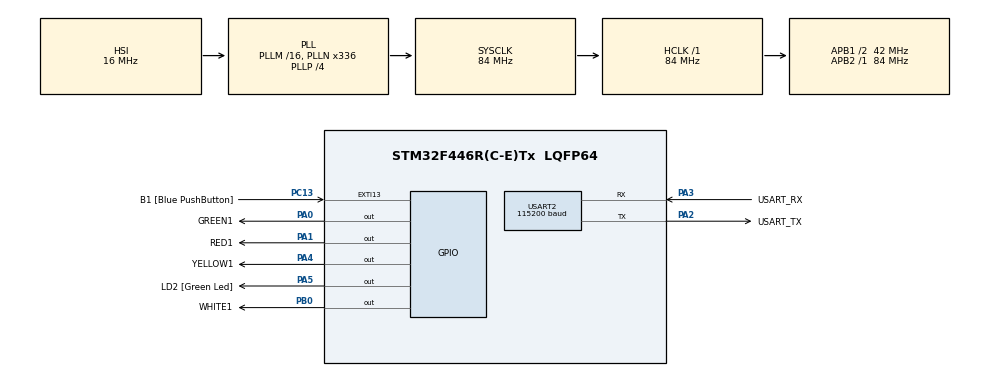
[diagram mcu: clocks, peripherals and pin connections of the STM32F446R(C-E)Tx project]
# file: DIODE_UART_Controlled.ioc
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Mcu.Family=STM32F4
Mcu.Name=STM32F446R(C-E)Tx
Mcu.Package=LQFP64
NVIC.PriorityGroup=NVIC_PRIORITYGROUP_0
NVIC.USART2_IRQn=true\:0\:0\:false\:false\:true\:true\:true
PA0-WKUP.GPIO_Label=GREEN1
PA0-WKUP.GPIO_PuPd=GPIO_PULLDOWN
PA0-WKUP.GPIO_Speed=GPIO_SPEED_FREQ_LOW
PA0-WKUP.Signal=GPIO_Output
PA1.GPIO_Label=RED1
PA1.GPIO_PuPd=GPIO_PULLDOWN
PA1.Signal=GPIO_Output
PA13.GPIO_Label=TMS
PA13.Mode=Serial_Wire
PA13.Signal=SYS_JTMS-SWDIO
PA14.GPIO_Label=TCK
PA14.Mode=Serial_Wire
PA14.Signal=SYS_JTCK-SWCLK
PA2.GPIO_Label=USART_TX
PA2.Mode=Asynchronous
PA2.Signal=USART2_TX
PA3.GPIO_Label=USART_RX
PA3.Mode=Asynchronous
PA3.Signal=USART2_RX
PA4.GPIO_Label=YELLOW1
PA4.GPIO_PuPd=GPIO_PULLDOWN
PA4.Signal=GPIO_Output
PA5.GPIO_Label=LD2 [Green Led]
PA5.Signal=GPIO_Output
PB0.GPIO_Label=WHITE1
PB0.GPIO_PuPd=GPIO_PULLDOWN
PB0.Signal=GPIO_Output
PB3.GPIO_Label=SWO
PB3.Signal=SYS_JTDO-SWO
PC13.GPIO_Label=B1 [Blue PushButton]
PC13.GPIO_ModeDefaultEXTI=GPIO_MODE_IT_FALLING
PC13.Signal=GPXTI13
PC14-OSC32_IN.Mode=LSE-External-Oscillator
PC14-OSC32_IN.Signal=RCC_OSC32_IN
PC15-OSC32_OUT.Mode=LSE-External-Oscillator
PC15-OSC32_OUT.Signal=RCC_OSC32_OUT
PH0-OSC_IN.Mode=HSE-External-Oscillator
PH0-OSC_IN.Signal=RCC_OSC_IN
PH1-OSC_OUT.Mode=HSE-External-Oscillator
PH1-OSC_OUT.Signal=RCC_OSC_OUT
ProjectManager.HeapSize=0x200
ProjectManager.StackSize=0x400
ProjectManager.TargetToolchain=STM32CubeIDE
RCC.48MHZClocksFreq_Value=84000000
RCC.AHBFreq_Value=84000000
RCC.APB1CLKDivider=RCC_HCLK_DIV2
RCC.APB1Freq_Value=42000000
RCC.APB1TimFreq_Value=84000000
RCC.APB2Freq_Value=84000000
RCC.APB2TimFreq_Value=84000000
RCC.CortexFreq_Value=84000000
RCC.FLatency-AdvancedSettings=FLASH_LATENCY_2
RCC.HCLKFreq_Value=84000000
RCC.HSE_VALUE=8000000
RCC.HSI_VALUE=16000000
RCC.PLLN=336
RCC.PLLP=RCC_PLLP_DIV4
RCC.SYSCLKFreq_VALUE=84000000
RCC.SYSCLKSource=RCC_SYSCLKSOURCE_PLLCLK
RCC.USBFreq_Value=168000000
RCC.VCOOutputFreq_Value=336000000
USART2.BaudRate=115200
USART2.VirtualMode=VM_ASYNC
board=NUCLEO-F446RE

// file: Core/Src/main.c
/* USER CODE BEGIN Header */
/**
  ******************************************************************************
  * @file           : main.c
  * @brief          : Main program body
  ******************************************************************************
  * @attention
  *
  * <h2><center>&copy; Copyright (c) 2021 STMicroelectronics.
  * All rights reserved.</center></h2>
  *
  * This software component is licensed by ST under BSD 3-Clause license,
  * the "License"; You may not use this file except in compliance with the
  * License. You may obtain a copy of the License at:
  *                        opensource.org/licenses/BSD-3-Clause
  *
  ******************************************************************************
  */
/* USER CODE END Header */
#include "main.h"

UART_HandleTypeDef huart2;

void SystemClock_Config(void);
static void MX_GPIO_Init(void);
static void MX_USART2_UART_Init(void);

/* USER CODE BEGIN 0 */
uint8_t b = 0;
uint8_t a[1] = "0";
uint8_t com_G =0;
uint8_t com_R =0;
uint8_t com_Y =0;
uint8_t com_W =0;
uint8_t TX_data_0[19] = "All Leds are OFF\n\r";
uint8_t TX_data_G_ON[19] = "Green Led is ON\n\r";
uint8_t TX_data_G_OF[20] = "Green Led is OFF\n\r";
uint8_t TX_data_R_ON[16] = "Red Led is ON\n\r";
uint8_t TX_data_R_OF[17] = "Red Led is OFF\n\r";
uint8_t TX_data_Y_ON[19] = "Yellow Led is ON\n\r";
uint8_t TX_data_Y_OF[20] = "Yellow Led is OFF\n\r";
uint8_t TX_data_W_ON[18] = "White Led is ON\n\r";
uint8_t TX_data_W_OF[19] = "White Led is OFF\n\r";

void HAL_UART_RxCpltCallback(UART_HandleTypeDef *huart)
{
	  HAL_UART_Receive_IT(&huart2, a, 1);

		  if(a[0]=='0')
		  {
			  b=0;
			  HAL_UART_Transmit(&huart2, TX_data_0, 19, 10);
			  com_W=0;
			  com_G=0;
			  com_R=0;
			  com_Y=0;
		  }

		  if(a[0]=='1')
		  {
			  b=1;
			  com_G++;
			  if(com_G % 2==1)
			  {
				  HAL_UART_Transmit(&huart2, TX_data_G_ON, 19, 10);
			  }
			  else
			  {
				  HAL_UART_Transmit(&huart2, TX_data_G_OF, 20, 10);
			  }
		  }

		  if(a[0]=='2')
		  {
			  b=2;
			  com_R++;
			  if(com_R % 2==1)
			  {
				  HAL_UART_Transmit(&huart2, TX_data_R_ON, 16, 10);
			  }
			  else
			  {
				  HAL_UART_Transmit(&huart2, TX_data_R_OF, 17, 10);
			  }
		  }

		  if(a[0]=='3')
		  {
			  b=3;
			  com_Y++;
			  if(com_Y % 2==1)
			  {
				  HAL_UART_Transmit(&huart2, TX_data_Y_ON, 19, 10);
			  }
			  else
			  {
				  HAL_UART_Transmit(&huart2, TX_data_Y_OF, 20, 10);
			  }
		  }
		  if(a[0]=='4')
		  {
			  b=4;
			  com_W++;
			  if(com_W % 2==1)

			  {
				  HAL_UART_Transmit(&huart2, TX_data_W_ON, 18, 10);
			  }
			  else
			  {
				  HAL_UART_Transmit(&huart2, TX_data_W_OF, 19, 10);
			  }
		  }
		  else
		  {
		    __NOP();
		  }
		  switch (b)
		  	  {
		  	  case 0:
		  		  //All LEDS are off
		  		  HAL_GPIO_WritePin(GPIOA, GREEN1_Pin, GPIO_PIN_RESET);
		  		  HAL_GPIO_WritePin(WHITE1_GPIO_Port, WHITE1_Pin, GPIO_PIN_RESET);
		  		  HAL_GPIO_WritePin(GPIOA, RED1_Pin, GPIO_PIN_RESET);
		  		  HAL_GPIO_WritePin(GPIOA, YELLOW1_Pin, GPIO_PIN_RESET);
		  		  break;
		  	  case 1:
		  		  //Green LED is ON
		  		  //HAL_GPIO_WritePin(WHITE_GPIO_Port, WHITE_Pin, GPIO_PIN_RESET);
		  		  //HAL_GPIO_WritePin(GPIOA, RED_Pin, GPIO_PIN_RESET);
		  		  //HAL_GPIO_WritePin(GPIOA, YELLOW_Pin, GPIO_PIN_RESET);
		  		  //HAL_GPIO_WritePin(GPIOA, GREEN_Pin, GPIO_PIN_SET);
		  		  HAL_GPIO_TogglePin(GPIOA, GREEN1_Pin);
		  		  HAL_GPIO_TogglePin(LD2_GPIO_Port, LD2_Pin);
		  		  break;
		  	  case 2:
		  		  //Red LED is ON
		  		  //HAL_GPIO_WritePin(WHITE_GPIO_Port, WHITE_Pin, GPIO_PIN_RESET);
		  		  //HAL_GPIO_WritePin(GPIOA, GREEN_Pin, GPIO_PIN_RESET);
		  		  //HAL_GPIO_WritePin(GPIOA, YELLOW_Pin, GPIO_PIN_RESET);
		  		  //HAL_GPIO_WritePin(GPIOA, RED_Pin, GPIO_PIN_SET);
		  		  //HAL_GPIO_WritePin(GPIOA, GREEN_Pin, GPIO_PIN_SET);
		  		  HAL_GPIO_TogglePin(GPIOA, RED1_Pin);
		  		  break;
		  	  case 3:
		  		  //Yellow LED is ON
		  		  //HAL_GPIO_WritePin(WHITE_GPIO_Port, WHITE_Pin, GPIO_PIN_RESET);
		  		  //HAL_GPIO_WritePin(GPIOA, GREEN_Pin, GPIO_PIN_RESET);
		  		  //HAL_GPIO_WritePin(GPIOA, RED_Pin, GPIO_PIN_RESET);
		  		  //HAL_GPIO_WritePin(GPIOA, YELLOW_Pin, GPIO_PIN_SET);
		  		  HAL_GPIO_TogglePin(GPIOA, YELLOW1_Pin);
		  		  break;
		  	  case 4:
		  		  //White LED is ON
		  		 //HAL_GPIO_WritePin(GPIOA, GREEN_Pin, GPIO_PIN_RESET);
		  		 //HAL_GPIO_WritePin(GPIOA, RED_Pin, GPIO_PIN_RESET);
		  		  //HAL_GPIO_WritePin(GPIOA, YELLOW_Pin, GPIO_PIN_RESET);
		  		  //HAL_GPIO_WritePin(WHITE_GPIO_Port, WHITE_Pin, GPIO_PIN_SET);
		  		  HAL_GPIO_TogglePin(WHITE1_GPIO_Port, WHITE1_Pin);
		  		  break;
		  	  }

}
//void HAL_UART_TxCpltCallback(UART_HandleTypeDef *huart)
//{
//	  HAL_UART_Transmit_IT(&huart2, TX_data, 18);
//}
/* USER CODE END 0 */

int main(void)
{

  /* MCU Configuration--------------------------------------------------------*/

  /* Reset of all peripherals, Initializes the Flash interface and the Systick. */
  HAL_Init();

  /* Configure the system clock */
  SystemClock_Config();

  /* Initialize all configured peripherals */
  MX_GPIO_Init();
  MX_USART2_UART_Init();
  /* USER CODE BEGIN 2 */
  //HAL_UART_Transmit_IT(&huart2, TX_data, 18);
  HAL_UART_Receive_IT(&huart2, a, 1);
  /* USER CODE END 2 */

  /* Infinite loop */
  while (1)
  {

    /* USER CODE BEGIN 3 */
	  //HAL_Delay(1000);
	 // HAL_GPIO_TogglePin(LD2_GPIO_Port, LD2_Pin);
	 /*
	  if(a[0]=='0')
	  {
		  b=0;
	  }
	  if(a[0]=='1')
	  {
		  b=1;
	  }
	  if(a[0]=='2')
	  {
		  b=2;
	  }
	  if(a[0]=='3')
	  {
		  b=3;
	  }
	  if(a[0]=='4')
	  {
		  b=4;
	  }
	  else
	  {
	    __NOP();
	  }
	  switch (b)
	  	  {
	  	  case 0:
	  		  //All LEDS are off
	  		  HAL_GPIO_WritePin(GPIOA, GREEN_Pin, GPIO_PIN_RESET);
	  		  HAL_GPIO_WritePin(WHITE_GPIO_Port, WHITE_Pin, GPIO_PIN_RESET);
	  		  HAL_GPIO_WritePin(GPIOA, RED_Pin, GPIO_PIN_RESET);
	  		  HAL_GPIO_WritePin(GPIOA, YELLOW_Pin, GPIO_PIN_RESET);
	  		  break;
	  	  case 1:
	  		  //Green LED is ON
	  		  HAL_GPIO_WritePin(WHITE_GPIO_Port, WHITE_Pin, GPIO_PIN_RESET);
	  		  HAL_GPIO_WritePin(GPIOA, RED_Pin, GPIO_PIN_RESET);
	  		  HAL_GPIO_WritePin(GPIOA, YELLOW_Pin, GPIO_PIN_RESET);
	  		  HAL_GPIO_WritePin(GPIOA, GREEN_Pin, GPIO_PIN_SET);
	  		  //HAL_GPIO_TogglePin(GPIOA, GPIO_PIN_5);
	  		  break;
	  	  case 2:
	  		  //Red LED is ON
	  		  HAL_GPIO_WritePin(WHITE_GPIO_Port, WHITE_Pin, GPIO_PIN_RESET);
	  		  HAL_GPIO_WritePin(GPIOA, GREEN_Pin, GPIO_PIN_RESET);
	  		  HAL_GPIO_WritePin(GPIOA, YELLOW_Pin, GPIO_PIN_RESET);
	  		  HAL_GPIO_WritePin(GPIOA, RED_Pin, GPIO_PIN_SET);
	  		  break;
	  	  case 3:
	  		  //Yellow LED is ON
	  		  HAL_GPIO_WritePin(WHITE_GPIO_Port, WHITE_Pin, GPIO_PIN_RESET);
	  		  HAL_GPIO_WritePin(GPIOA, GREEN_Pin, GPIO_PIN_RESET);
	  		  HAL_GPIO_WritePin(GPIOA, RED_Pin, GPIO_PIN_RESET);
	  		  HAL_GPIO_WritePin(GPIOA, YELLOW_Pin, GPIO_PIN_SET);
	  		  break;
	  	  case 4:
	  		  //White LED is ON
	  		  HAL_GPIO_WritePin(GPIOA, GREEN_Pin, GPIO_PIN_RESET);
	  		  HAL_GPIO_WritePin(GPIOA, RED_Pin, GPIO_PIN_RESET);
	  		  HAL_GPIO_WritePin(GPIOA, YELLOW_Pin, GPIO_PIN_RESET);
	  		  HAL_GPIO_WritePin(WHITE_GPIO_Port, WHITE_Pin, GPIO_PIN_SET);
	  		  break;
	  	  }
	  	  */
  }
  /* USER CODE END 3 */
}

void SystemClock_Config(void)
{
  RCC_OscInitTypeDef RCC_OscInitStruct = {0};
  RCC_ClkInitTypeDef RCC_ClkInitStruct = {0};

  /** Configure the main internal regulator output voltage
  */
  __HAL_RCC_PWR_CLK_ENABLE();
  __HAL_PWR_VOLTAGESCALING_CONFIG(PWR_REGULATOR_VOLTAGE_SCALE3);
  /** Initializes the RCC Oscillators according to the specified parameters
  * in the RCC_OscInitTypeDef structure.
  */
  RCC_OscInitStruct.OscillatorType = RCC_OSCILLATORTYPE_HSI;
  RCC_OscInitStruct.HSIState = RCC_HSI_ON;
  RCC_OscInitStruct.HSICalibrationValue = RCC_HSICALIBRATION_DEFAULT;
  RCC_OscInitStruct.PLL.PLLState = RCC_PLL_ON;
  RCC_OscInitStruct.PLL.PLLSource = RCC_PLLSOURCE_HSI;
  RCC_OscInitStruct.PLL.PLLM = 16;
  RCC_OscInitStruct.PLL.PLLN = 336;
  RCC_OscInitStruct.PLL.PLLP = RCC_PLLP_DIV4;
  RCC_OscInitStruct.PLL.PLLQ = 2;
  RCC_OscInitStruct.PLL.PLLR = 2;
  if (HAL_RCC_OscConfig(&RCC_OscInitStruct) != HAL_OK)
  {
    Error_Handler();
  }
  /** Initializes the CPU, AHB and APB buses clocks
  */
  RCC_ClkInitStruct.ClockType = RCC_CLOCKTYPE_HCLK|RCC_CLOCKTYPE_SYSCLK
                              |RCC_CLOCKTYPE_PCLK1|RCC_CLOCKTYPE_PCLK2;
  RCC_ClkInitStruct.SYSCLKSource = RCC_SYSCLKSOURCE_PLLCLK;
  RCC_ClkInitStruct.AHBCLKDivider = RCC_SYSCLK_DIV1;
  RCC_ClkInitStruct.APB1CLKDivider = RCC_HCLK_DIV2;
  RCC_ClkInitStruct.APB2CLKDivider = RCC_HCLK_DIV1;

  if (HAL_RCC_ClockConfig(&RCC_ClkInitStruct, FLASH_LATENCY_2) != HAL_OK)
  {
    Error_Handler();
  }
}

static void MX_USART2_UART_Init(void)
{

  huart2.Instance = USART2;
  huart2.Init.BaudRate = 115200;
  huart2.Init.WordLength = UART_WORDLENGTH_8B;
  huart2.Init.StopBits = UART_STOPBITS_1;
  huart2.Init.Parity = UART_PARITY_NONE;
  huart2.Init.Mode = UART_MODE_TX_RX;
  huart2.Init.HwFlowCtl = UART_HWCONTROL_NONE;
  huart2.Init.OverSampling = UART_OVERSAMPLING_16;
  if (HAL_UART_Init(&huart2) != HAL_OK)
  {
    Error_Handler();
  }

}

static void MX_GPIO_Init(void)
{
  GPIO_InitTypeDef GPIO_InitStruct = {0};

  /* GPIO Ports Clock Enable */
  __HAL_RCC_GPIOC_CLK_ENABLE();
  __HAL_RCC_GPIOH_CLK_ENABLE();
  __HAL_RCC_GPIOA_CLK_ENABLE();
  __HAL_RCC_GPIOB_CLK_ENABLE();

  /*Configure GPIO pin Output Level */
  HAL_GPIO_WritePin(GPIOA, GREEN1_Pin|RED1_Pin|YELLOW1_Pin|LD2_Pin, GPIO_PIN_RESET);

  /*Configure GPIO pin Output Level */
  HAL_GPIO_WritePin(WHITE1_GPIO_Port, WHITE1_Pin, GPIO_PIN_RESET);

  /*Configure GPIO pin : B1_Pin */
  GPIO_InitStruct.Pin = B1_Pin;
  GPIO_InitStruct.Mode = GPIO_MODE_IT_FALLING;
  GPIO_InitStruct.Pull = GPIO_NOPULL;
  HAL_GPIO_Init(B1_GPIO_Port, &GPIO_InitStruct);

  /*Configure GPIO pins : GREEN1_Pin RED1_Pin YELLOW1_Pin */
  GPIO_InitStruct.Pin = GREEN1_Pin|RED1_Pin|YELLOW1_Pin;
  GPIO_InitStruct.Mode = GPIO_MODE_OUTPUT_PP;
  GPIO_InitStruct.Pull = GPIO_PULLDOWN;
  GPIO_InitStruct.Speed = GPIO_SPEED_FREQ_LOW;
  HAL_GPIO_Init(GPIOA, &GPIO_InitStruct);

  /*Configure GPIO pin : LD2_Pin */
  GPIO_InitStruct.Pin = LD2_Pin;
  GPIO_InitStruct.Mode = GPIO_MODE_OUTPUT_PP;
  GPIO_InitStruct.Pull = GPIO_NOPULL;
  GPIO_InitStruct.Speed = GPIO_SPEED_FREQ_LOW;
  HAL_GPIO_Init(LD2_GPIO_Port, &GPIO_InitStruct);

  /*Configure GPIO pin : WHITE1_Pin */
  GPIO_InitStruct.Pin = WHITE1_Pin;
  GPIO_InitStruct.Mode = GPIO_MODE_OUTPUT_PP;
  GPIO_InitStruct.Pull = GPIO_PULLDOWN;
  GPIO_InitStruct.Speed = GPIO_SPEED_FREQ_LOW;
  HAL_GPIO_Init(WHITE1_GPIO_Port, &GPIO_InitStruct);

}

void Error_Handler(void)
{
  __disable_irq();
  while (1)
  {
  }
}
